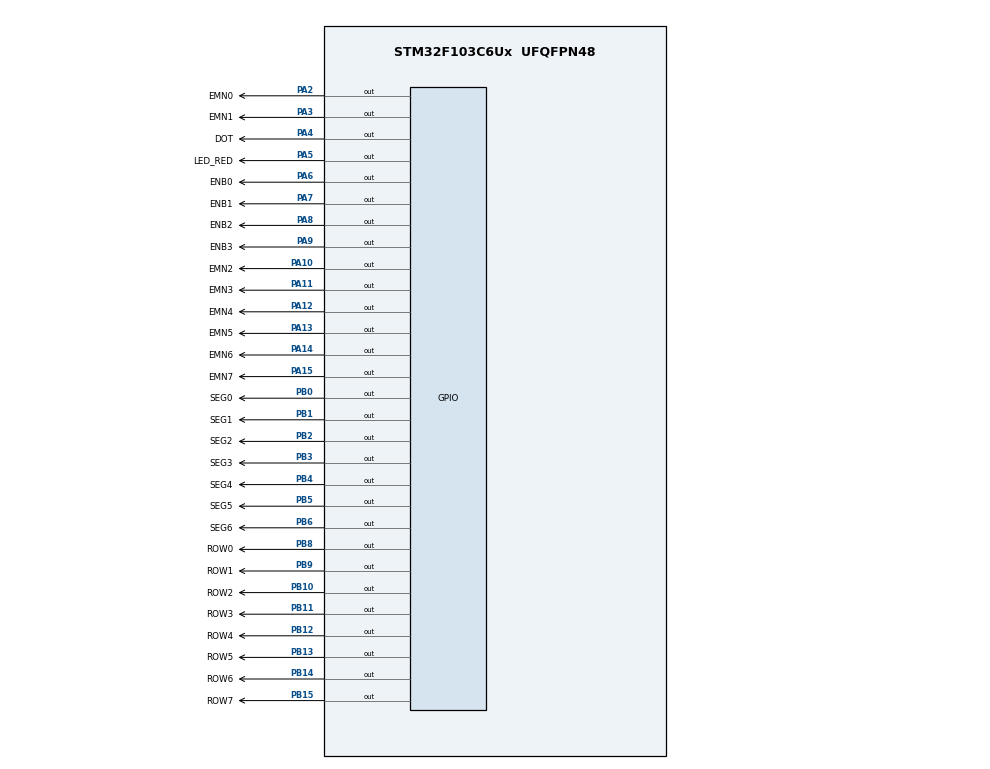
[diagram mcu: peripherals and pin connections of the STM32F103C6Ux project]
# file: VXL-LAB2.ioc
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Mcu.Family=STM32F1
Mcu.Name=STM32F103C6Ux
Mcu.Package=UFQFPN48
NVIC.PriorityGroup=NVIC_PRIORITYGROUP_4
NVIC.TIM2_IRQn=true\:0\:0\:false\:false\:true\:true\:true
PA10.GPIO_Label=EMN2
PA10.Signal=GPIO_Output
PA11.GPIO_Label=EMN3
PA11.Signal=GPIO_Output
PA12.GPIO_Label=EMN4
PA12.Signal=GPIO_Output
PA13.GPIO_Label=EMN5
PA13.Signal=GPIO_Output
PA14.GPIO_Label=EMN6
PA14.Signal=GPIO_Output
PA15.GPIO_Label=EMN7
PA15.Signal=GPIO_Output
PA2.GPIO_Label=EMN0
PA2.Signal=GPIO_Output
PA3.GPIO_Label=EMN1
PA3.Signal=GPIO_Output
PA4.GPIO_Label=DOT
PA4.Signal=GPIO_Output
PA5.GPIO_Label=LED_RED
PA5.Signal=GPIO_Output
PA6.GPIO_Label=ENB0
PA6.Signal=GPIO_Output
PA7.GPIO_Label=ENB1
PA7.Signal=GPIO_Output
PA8.GPIO_Label=ENB2
PA8.Signal=GPIO_Output
PA9.GPIO_Label=ENB3
PA9.Signal=GPIO_Output
PB0.GPIO_Label=SEG0
PB0.Signal=GPIO_Output
PB1.GPIO_Label=SEG1
PB1.Signal=GPIO_Output
PB10.GPIO_Label=ROW2
PB10.Signal=GPIO_Output
PB11.GPIO_Label=ROW3
PB11.Signal=GPIO_Output
PB12.GPIO_Label=ROW4
PB12.Signal=GPIO_Output
PB13.GPIO_Label=ROW5
PB13.Signal=GPIO_Output
PB14.GPIO_Label=ROW6
PB14.Signal=GPIO_Output
PB15.GPIO_Label=ROW7
PB15.Signal=GPIO_Output
PB2.GPIO_Label=SEG2
PB2.Signal=GPIO_Output
PB3.GPIO_Label=SEG3
PB3.Signal=GPIO_Output
PB4.GPIO_Label=SEG4
PB4.Signal=GPIO_Output
PB5.GPIO_Label=SEG5
PB5.Signal=GPIO_Output
PB6.GPIO_Label=SEG6
PB6.Signal=GPIO_Output
PB8.GPIO_Label=ROW0
PB8.Signal=GPIO_Output
PB9.GPIO_Label=ROW1
PB9.Signal=GPIO_Output
ProjectManager.HeapSize=0x200
ProjectManager.StackSize=0x400
ProjectManager.TargetToolchain=STM32CubeIDE
RCC.APB1Freq_Value=8000000
RCC.APB2Freq_Value=8000000
TIM2.Period=9
TIM2.Prescaler=7999
VP_SYS_VS_ND.Mode=No_Debug
VP_TIM2_VS_ClockSourceINT.Mode=Internal
board=custom

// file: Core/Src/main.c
/* USER CODE BEGIN Header */
/**
  ******************************************************************************
  * @file           : main.c
  * @brief          : Main program body
  ******************************************************************************
  * @attention
  *
  * <h2><center>&copy; Copyright (c) 2024 STMicroelectronics.
  * All rights reserved.</center></h2>
  *
  * This software component is licensed by ST under BSD 3-Clause license,
  * the "License"; You may not use this file except in compliance with the
  * License. You may obtain a copy of the License at:
  *                        opensource.org/licenses/BSD-3-Clause
  *
  ******************************************************************************
  */
/* USER CODE END Header */
#include <ex10.h>
#include "main.h"

/* USER CODE BEGIN Includes */
#include <ex8.h>
#include "software_interrupt.h"
/* USER CODE END Includes */

TIM_HandleTypeDef htim2;

void SystemClock_Config(void);
static void MX_GPIO_Init(void);
static void MX_TIM2_Init(void);

int main(void)
{
  /* USER CODE BEGIN 1 */
	hour = 15, minute = 9;
	int second = 50;
  /* USER CODE END 1 */

  /* MCU Configuration--------------------------------------------------------*/

  /* Reset of all peripherals, Initializes the Flash interface and the Systick. */
  HAL_Init();

  /* Configure the system clock */
  SystemClock_Config();

  /* Initialize all configured peripherals */
  MX_GPIO_Init();
  MX_TIM2_Init();
  /* USER CODE BEGIN 2 */
  HAL_TIM_Base_Start_IT(&htim2);
  /* USER CODE END 2 */

  /* Infinite loop */
  /* USER CODE BEGIN WHILE */
  setTimer0(1250);
  setTimer1(250);
  setTimer2(250);
  setTimer3(250);
  while (1)
  {
	  if(timer0_flag == 1){
		  setTimer0(1000);
		  second++;
		  if (second >= 60) {
			  second = 0;
			  minute++;
		  }
		  if (minute >= 60) {
			  minute = 0;
			  hour++;
		  }
		  if (hour >= 24) {
			  hour = 0;
		  }
		  updateClockBuffer();
		  blinkDOT();
	  }
	  if (timer1_flag == 1) {
		  setTimer1(250);
		  ex4Run(); //contain update7SEG with automatic index to go through
	  }
	  if (timer2_flag == 1) {
		  setTimer2(2000);
		  HAL_GPIO_TogglePin(LED_RED_GPIO_Port, LED_RED_Pin);
	  }
	  if (timer3_flag == 1) {
		  setTimer3(10);
		  ex10Run();
	  }

    /* USER CODE END WHILE */

  }
}

void SystemClock_Config(void)
{
  RCC_OscInitTypeDef RCC_OscInitStruct = {0};
  RCC_ClkInitTypeDef RCC_ClkInitStruct = {0};

  /** Initializes the RCC Oscillators according to the specified parameters
  * in the RCC_OscInitTypeDef structure.
  */
  RCC_OscInitStruct.OscillatorType = RCC_OSCILLATORTYPE_HSI;
  RCC_OscInitStruct.HSIState = RCC_HSI_ON;
  RCC_OscInitStruct.HSICalibrationValue = RCC_HSICALIBRATION_DEFAULT;
  RCC_OscInitStruct.PLL.PLLState = RCC_PLL_NONE;
  if (HAL_RCC_OscConfig(&RCC_OscInitStruct) != HAL_OK)
  {
    Error_Handler();
  }
  /** Initializes the CPU, AHB and APB buses clocks
  */
  RCC_ClkInitStruct.ClockType = RCC_CLOCKTYPE_HCLK|RCC_CLOCKTYPE_SYSCLK
                              |RCC_CLOCKTYPE_PCLK1|RCC_CLOCKTYPE_PCLK2;
  RCC_ClkInitStruct.SYSCLKSource = RCC_SYSCLKSOURCE_HSI;
  RCC_ClkInitStruct.AHBCLKDivider = RCC_SYSCLK_DIV1;
  RCC_ClkInitStruct.APB1CLKDivider = RCC_HCLK_DIV1;
  RCC_ClkInitStruct.APB2CLKDivider = RCC_HCLK_DIV1;

  if (HAL_RCC_ClockConfig(&RCC_ClkInitStruct, FLASH_LATENCY_0) != HAL_OK)
  {
    Error_Handler();
  }
}

static void MX_TIM2_Init(void)
{

  TIM_ClockConfigTypeDef sClockSourceConfig = {0};
  TIM_MasterConfigTypeDef sMasterConfig = {0};

  htim2.Instance = TIM2;
  htim2.Init.Prescaler = 7999;
  htim2.Init.CounterMode = TIM_COUNTERMODE_UP;
  htim2.Init.Period = 9;
  htim2.Init.ClockDivision = TIM_CLOCKDIVISION_DIV1;
  htim2.Init.AutoReloadPreload = TIM_AUTORELOAD_PRELOAD_DISABLE;
  if (HAL_TIM_Base_Init(&htim2) != HAL_OK)
  {
    Error_Handler();
  }
  sClockSourceConfig.ClockSource = TIM_CLOCKSOURCE_INTERNAL;
  if (HAL_TIM_ConfigClockSource(&htim2, &sClockSourceConfig) != HAL_OK)
  {
    Error_Handler();
  }
  sMasterConfig.MasterOutputTrigger = TIM_TRGO_RESET;
  sMasterConfig.MasterSlaveMode = TIM_MASTERSLAVEMODE_DISABLE;
  if (HAL_TIMEx_MasterConfigSynchronization(&htim2, &sMasterConfig) != HAL_OK)
  {
    Error_Handler();
  }

}

static void MX_GPIO_Init(void)
{
  GPIO_InitTypeDef GPIO_InitStruct = {0};

  /* GPIO Ports Clock Enable */
  __HAL_RCC_GPIOA_CLK_ENABLE();
  __HAL_RCC_GPIOB_CLK_ENABLE();

  /*Configure GPIO pin Output Level */
  HAL_GPIO_WritePin(GPIOA, EMN0_Pin|EMN1_Pin|DOT_Pin|LED_RED_Pin
                          |ENB0_Pin|ENB1_Pin|ENB2_Pin|ENB3_Pin
                          |EMN2_Pin|EMN3_Pin|EMN4_Pin|EMN5_Pin
                          |EMN6_Pin|EMN7_Pin, GPIO_PIN_RESET);

  /*Configure GPIO pin Output Level */
  HAL_GPIO_WritePin(GPIOB, SEG0_Pin|SEG1_Pin|SEG2_Pin|ROW2_Pin
                          |ROW3_Pin|ROW4_Pin|ROW5_Pin|ROW6_Pin
                          |ROW7_Pin|SEG3_Pin|SEG4_Pin|SEG5_Pin
                          |SEG6_Pin|ROW0_Pin|ROW1_Pin, GPIO_PIN_RESET);

  /*Configure GPIO pins : EMN0_Pin EMN1_Pin DOT_Pin LED_RED_Pin
                           ENB0_Pin ENB1_Pin ENB2_Pin ENB3_Pin
                           EMN2_Pin EMN3_Pin EMN4_Pin EMN5_Pin
                           EMN6_Pin EMN7_Pin */
  GPIO_InitStruct.Pin = EMN0_Pin|EMN1_Pin|DOT_Pin|LED_RED_Pin
                          |ENB0_Pin|ENB1_Pin|ENB2_Pin|ENB3_Pin
                          |EMN2_Pin|EMN3_Pin|EMN4_Pin|EMN5_Pin
                          |EMN6_Pin|EMN7_Pin;
  GPIO_InitStruct.Mode = GPIO_MODE_OUTPUT_PP;
  GPIO_InitStruct.Pull = GPIO_NOPULL;
  GPIO_InitStruct.Speed = GPIO_SPEED_FREQ_LOW;
  HAL_GPIO_Init(GPIOA, &GPIO_InitStruct);

  /*Configure GPIO pins : SEG0_Pin SEG1_Pin SEG2_Pin ROW2_Pin
                           ROW3_Pin ROW4_Pin ROW5_Pin ROW6_Pin
                           ROW7_Pin SEG3_Pin SEG4_Pin SEG5_Pin
                           SEG6_Pin ROW0_Pin ROW1_Pin */
  GPIO_InitStruct.Pin = SEG0_Pin|SEG1_Pin|SEG2_Pin|ROW2_Pin
                          |ROW3_Pin|ROW4_Pin|ROW5_Pin|ROW6_Pin
                          |ROW7_Pin|SEG3_Pin|SEG4_Pin|SEG5_Pin
                          |SEG6_Pin|ROW0_Pin|ROW1_Pin;
  GPIO_InitStruct.Mode = GPIO_MODE_OUTPUT_PP;
  GPIO_InitStruct.Pull = GPIO_NOPULL;
  GPIO_InitStruct.Speed = GPIO_SPEED_FREQ_LOW;
  HAL_GPIO_Init(GPIOB, &GPIO_InitStruct);

}

/* USER CODE BEGIN 4 */
	void HAL_TIM_PeriodElapsedCallback(TIM_HandleTypeDef *htim) {
		timerRun0();
		timerRun1();
		timerRun2();
		timerRun3();
	}

/* USER CODE END 4 */

void Error_Handler(void)
{
  __disable_irq();
  while (1)
  {
  }
}

/************************ (C) COPYRIGHT STMicroelectronics *****END OF FILE****/
